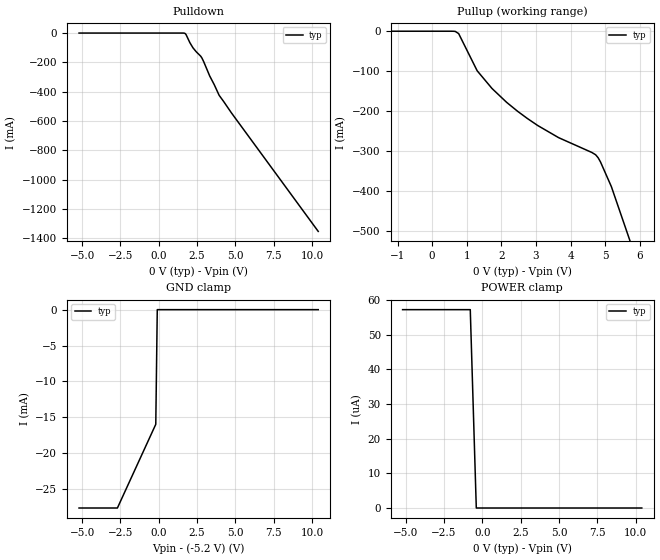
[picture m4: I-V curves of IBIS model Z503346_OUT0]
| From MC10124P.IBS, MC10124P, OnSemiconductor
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| (C) COPYRIGHT 1993-2000
| MENTOR GRAPHICS CORPORATION
| ICX STANDARD LIBRARY, ICX PROJECT MODELING,
| ICX CUSTOM MODELING, ICX VENDOR MODEL
| ALL RIGHTS RESERVED.
| THE FOLLOWING ARE TRADEMARKS OR SERVICE MARKS OF
| MENTOR GRAPHICS CORPORATION:ICX (R), ICX STANDARD
| LIBRARY(R), ICX PROJECT MODELING(R), ICX CUSTOM
| MODELING(R), qualityIBIS(TM), MODELVIEWER(TM),
| AND MODELEDITOR(TM)
| ALL COPIES OF SOFTWARE, INCLUDING BUT NOT LIMITED TO
| ANY MODIFICATIONS, ENHANCEMENTS OR DERIVATIVE WORKS,
| MUST CONTAIN ALL MENTOR GRAPHICS CORPORATION'S
| NOTICES AND LEGENDS, INCLUDING THOSE EMBEDDED IN
| SOFTWARE AND THOSE AFFIXED TO SOFTWARE MEDIUM
| AND CONTAINER, AS RECEIVED FROM MENTOR GRAPHICS
| CORPORATION.
| Model Application Version 1.89 2/18/99.
[Model] Z503346_OUT0
Model_type Output_ECL
Vref=-2.000V
Rref=50.00ohms
Cref=0.000F
Vmeas=-1.290V
C_comp 8.000pF NA NA
| variable typ   min   max
[Voltage Range] -5.200V NA NA
[POWER Clamp Reference] 0.000V NA NA
[Pullup Reference] 0.000V NA NA
[Pulldown Reference] 0.000V NA NA
[GND Clamp Reference] -5.200V NA NA
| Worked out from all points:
|   GND clamp passes 1 mA (typ) near -0.10 V on its own axis
[GND Clamp]
-5.2V     -27.63mA   NA         NA
-2.697V   -27.63mA   NA         NA
-195mV    -15.97mA   NA         NA
-97.5mV   0A         NA         NA
10.4V     0A         NA         NA
[Pulldown]
-5.2V     219.3uA    NA         NA
1.721V    -3.169mA   NA         NA
2.232V    -100.7mA   NA         NA
2.817V    -170.5mA   NA         NA
3.32V     -292.2mA   NA         NA
3.618V    -351.9mA   NA         NA
3.936V    -424.3mA   NA         NA
4.741V    -544.7mA   NA         NA
10.4V     -1.353A    NA         NA
[Pullup]
-5.2V     174uA      NA         NA
666.9mV   -358.6uA   NA         NA
764.5mV   -5.794mA   NA         NA
1.299V    -98.87mA   NA         NA
1.729V    -143.4mA   NA         NA
2.467V    -200.4mA   NA         NA
3.047V    -236mA     NA         NA
3.652V    -266.5mA   NA         NA
4.722V    -309.4mA   NA         NA
4.863V    -327.6mA   NA         NA
5.176V    -389.2mA   NA         NA
10.4V     -1.709A    NA         NA
[POWER Clamp]
-5.2V     57.2uA     NA         NA
-786.4mV  57.2uA     NA         NA
-393.2mV  0A         NA         NA
10.4V     0A         NA         NA
[Ramp]
| variable typ min max
dV/dt_r 525.9m/2.366n NA NA
dV/dt_f 525.9m/1.738n NA NA
R_load = 50.00Ohms
